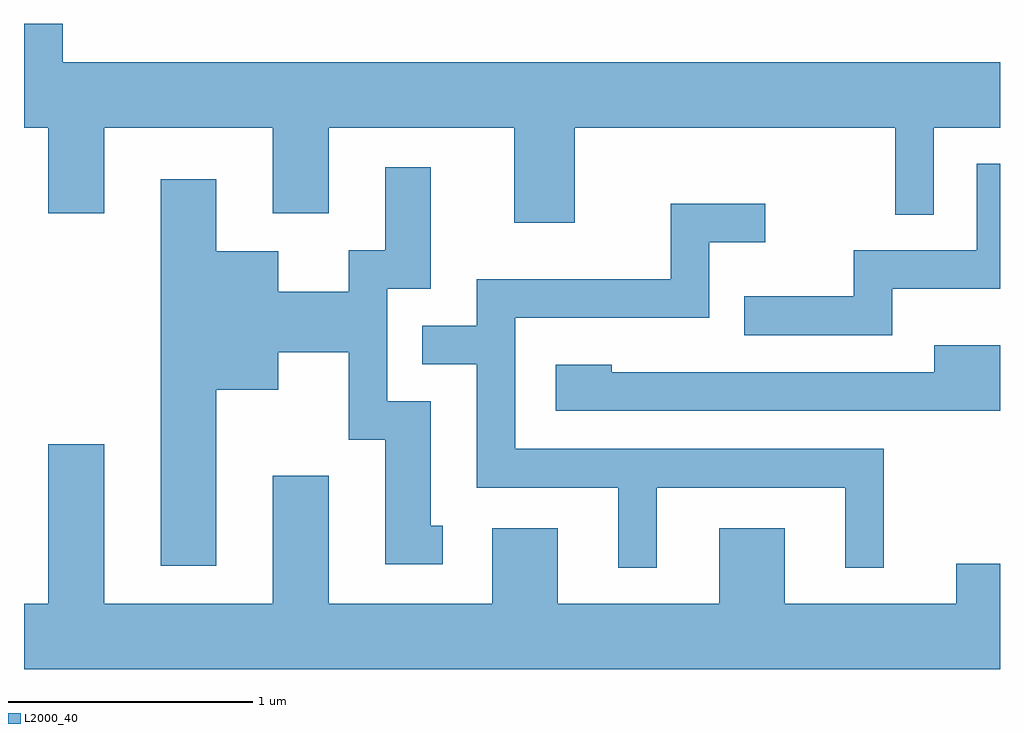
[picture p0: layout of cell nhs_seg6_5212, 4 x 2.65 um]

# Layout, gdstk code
import gdstk
lib = gdstk.Library(unit=1e-6, precision=1e-09)
def P(c, l, *ps):  # polygons
    for p in ps: c.add(gdstk.Polygon(p, *l))
L2000_40 = (2000, 40)

nhs_seg6_5212 = lib.new_cell('nhs_seg6_5212')
P(nhs_seg6_5212, L2000_40, [(345.869,1627.736),(347.181,1627.736),(347.181,1627.378),(347.339,1627.378),(347.339,1627.736),(347.611,1627.736),(347.611,1628.004),(343.769,1628.004),(343.769,1628.162),(343.611,1628.162),(343.611,1627.736),(343.711,1627.736),(343.711,1627.386),(343.939,1627.386),(343.939,1627.736),(344.631,1627.736),(344.631,1627.386),(344.859,1627.386),(344.859,1627.736),(345.621,1627.736),(345.621,1627.346),(345.869,1627.346)],
  [(347.169,1627.076),(347.611,1627.076),(347.611,1627.588),(347.516,1627.588),(347.516,1627.234),(347.011,1627.234),(347.011,1627.044),(346.563,1627.044),(346.563,1626.886),(347.169,1626.886)],
  [(344.399,1626.661),(344.654,1626.661),(344.654,1626.816),(344.941,1626.816),(344.941,1626.456),(345.091,1626.456),(345.091,1625.946),(345.328,1625.946),(345.328,1626.104),(345.279,1626.104),(345.279,1626.614),(345.099,1626.614),(345.099,1627.076),(345.279,1627.076),(345.279,1627.574),(345.091,1627.574),(345.091,1627.234),(344.941,1627.234),(344.941,1627.064),(344.654,1627.064),(344.654,1627.229),(344.399,1627.229),(344.399,1627.524),(344.171,1627.524),(344.171,1625.941),(344.399,1625.941)],
  [(346.204,1626.261),(346.976,1626.261),(346.976,1625.933),(347.134,1625.933),(347.134,1626.419),(345.624,1626.419),(345.624,1626.956),(346.419,1626.956),(346.419,1627.266),(346.648,1627.266),(346.648,1627.424),(346.261,1627.424),(346.261,1627.114),(345.466,1627.114),(345.466,1626.924),(345.243,1626.924),(345.243,1626.766),(345.466,1626.766),(345.466,1626.261),(346.046,1626.261),(346.046,1625.933),(346.204,1625.933)],
  [(347.611,1626.844),(347.341,1626.844),(347.341,1626.734),(346.019,1626.734),(346.019,1626.764),(345.791,1626.764),(345.791,1626.576),(347.611,1626.576)],
  [(347.611,1625.949),(347.431,1625.949),(347.431,1625.784),(346.729,1625.784),(346.729,1626.094),(346.461,1626.094),(346.461,1625.784),(345.799,1625.784),(345.799,1626.094),(345.531,1626.094),(345.531,1625.784),(344.859,1625.784),(344.859,1626.309),(344.631,1626.309),(344.631,1625.784),(343.939,1625.784),(343.939,1626.439),(343.711,1626.439),(343.711,1625.784),(343.611,1625.784),(343.611,1625.516),(347.611,1625.516)])

lib.write_gds('nhs_seg6_5212.gds')
